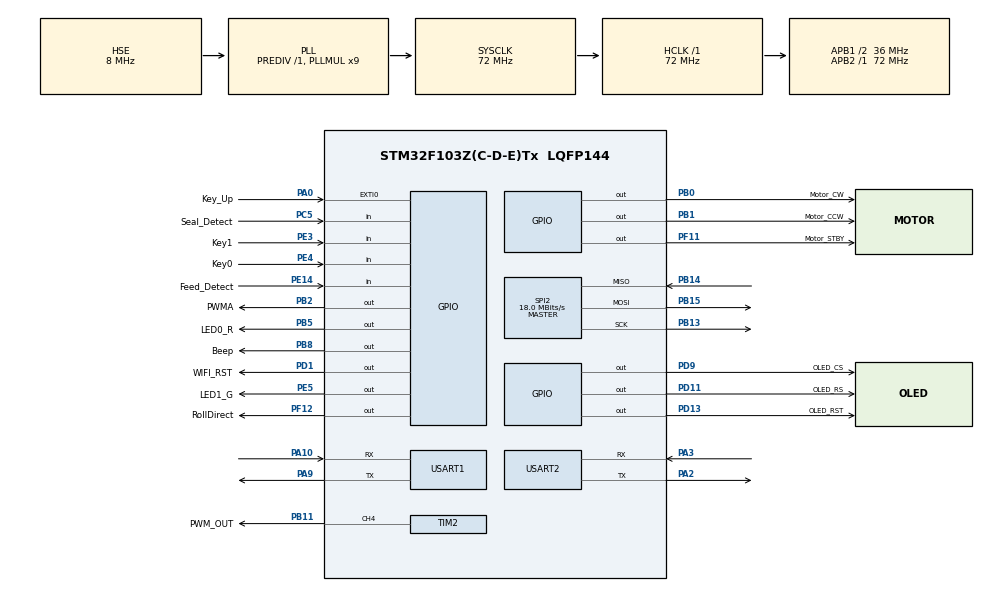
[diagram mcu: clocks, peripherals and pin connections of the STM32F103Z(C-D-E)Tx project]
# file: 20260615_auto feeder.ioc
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Mcu.Family=STM32F1
Mcu.Name=STM32F103Z(C-D-E)Tx
Mcu.Package=LQFP144
NVIC.EXTI0_IRQn=true\:1\:1\:true\:false\:true\:true\:true\:true
NVIC.PriorityGroup=NVIC_PRIORITYGROUP_2
NVIC.TIM2_IRQn=true\:1\:0\:true\:false\:true\:true\:true\:true
NVIC.TIM3_IRQn=true\:0\:0\:false\:false\:true\:true\:true\:true
NVIC.USART1_IRQn=true\:0\:1\:false\:false\:true\:true\:true\:true
NVIC.USART2_IRQn=true\:0\:0\:false\:false\:true\:true\:true\:true
OSC_IN.Mode=HSE-External-Oscillator
OSC_IN.Signal=RCC_OSC_IN
OSC_OUT.Mode=HSE-External-Oscillator
OSC_OUT.Signal=RCC_OSC_OUT
PA0-WKUP.GPIO_Label=Key_Up
PA0-WKUP.GPIO_ModeDefaultEXTI=GPIO_MODE_IT_RISING
PA0-WKUP.GPIO_PuPd=GPIO_PULLDOWN
PA0-WKUP.Signal=GPXTI0
PA1.Signal=ADCx_IN1
PA10.Mode=Asynchronous
PA10.Signal=USART1_RX
PA13.Mode=Serial_Wire
PA13.Signal=SYS_JTMS-SWDIO
PA14.Mode=Serial_Wire
PA14.Signal=SYS_JTCK-SWCLK
PA2.Mode=Asynchronous
PA2.Signal=USART2_TX
PA3.Mode=Asynchronous
PA3.Signal=USART2_RX
PA4.Signal=SPI1_NSS
PA9.Mode=Asynchronous
PA9.Signal=USART1_TX
PB0.GPIO_Label=Motor_CW
PB0.GPIO_PuPd=GPIO_PULLDOWN
PB0.Signal=GPIO_Output
PB1.GPIO_Label=Motor_CCW
PB1.GPIO_PuPd=GPIO_PULLDOWN
PB1.Signal=GPIO_Output
PB11.GPIO_Label=PWM_OUT
PB11.Signal=S_TIM2_CH4
PB12.Signal=SPI2_NSS
PB13.Mode=Full_Duplex_Master
PB13.Signal=SPI2_SCK
PB14.Mode=Full_Duplex_Master
PB14.Signal=SPI2_MISO
PB15.Mode=Full_Duplex_Master
PB15.Signal=SPI2_MOSI
PB2.GPIO_Label=PWMA
PB2.GPIO_PuPd=GPIO_PULLDOWN
PB2.Signal=GPIO_Output
PB5.GPIO_Label=LED0_R
PB5.GPIO_ModeDefaultOutputPP=GPIO_MODE_OUTPUT_PP
PB5.GPIO_PuPd=GPIO_PULLUP
PB5.GPIO_Speed=GPIO_SPEED_FREQ_HIGH
PB5.PinState=GPIO_PIN_SET
PB5.Signal=GPIO_Output
PB8.GPIO_Label=Beep
PB8.GPIO_PuPd=GPIO_PULLDOWN
PB8.GPIO_Speed=GPIO_SPEED_FREQ_LOW
PB8.Signal=GPIO_Output
PC14-OSC32_IN.Mode=LSE-External-Oscillator
PC14-OSC32_IN.Signal=RCC_OSC32_IN
PC15-OSC32_OUT.Mode=LSE-External-Oscillator
PC15-OSC32_OUT.Signal=RCC_OSC32_OUT
PC5.GPIO_Label=Seal_Detect
PC5.GPIO_PuPd=GPIO_PULLUP
PC5.Signal=GPIO_Input
PD1.GPIO_Label=WIFI_RST
PD1.GPIO_ModeDefaultOutputPP=GPIO_MODE_OUTPUT_PP
PD1.GPIO_PuPd=GPIO_PULLDOWN
PD1.GPIO_Speed=GPIO_SPEED_FREQ_MEDIUM
PD1.PinState=GPIO_PIN_RESET
PD1.Signal=GPIO_Output
PD11.GPIO_Label=OLED_RS
PD11.GPIO_PuPd=GPIO_PULLUP
PD11.GPIO_Speed=GPIO_SPEED_FREQ_MEDIUM
PD11.PinState=GPIO_PIN_SET
PD11.Signal=GPIO_Output
PD13.GPIO_Label=OLED_RST
PD13.GPIO_PuPd=GPIO_PULLUP
PD13.GPIO_Speed=GPIO_SPEED_FREQ_MEDIUM
PD13.PinState=GPIO_PIN_SET
PD13.Signal=GPIO_Output
PD9.GPIO_Label=OLED_CS
PD9.GPIO_PuPd=GPIO_PULLUP
PD9.GPIO_Speed=GPIO_SPEED_FREQ_MEDIUM
PD9.PinState=GPIO_PIN_SET
PD9.Signal=GPIO_Output
PE14.GPIO_Label=Feed_Detect
PE14.GPIO_PuPd=GPIO_PULLUP
PE14.Signal=GPIO_Input
PE3.GPIO_Label=Key1
PE3.GPIO_PuPd=GPIO_PULLUP
PE3.Signal=GPIO_Input
PE4.GPIO_Label=Key0
PE4.GPIO_PuPd=GPIO_PULLUP
PE4.Signal=GPIO_Input
PE5.GPIO_Label=LED1_G
PE5.GPIO_PuPd=GPIO_PULLUP
PE5.GPIO_Speed=GPIO_SPEED_FREQ_HIGH
PE5.PinState=GPIO_PIN_SET
PE5.Signal=GPIO_Output
PF11.GPIO_Label=Motor_STBY
PF11.GPIO_PuPd=GPIO_PULLDOWN
PF11.Signal=GPIO_Output
PF12.GPIO_Label=RollDirect
PF12.GPIO_PuPd=GPIO_NOPULL
PF12.PinState=GPIO_PIN_RESET
PF12.Signal=GPIO_Output
ProjectManager.HeapSize=0x200
ProjectManager.StackSize=0x400
ProjectManager.TargetToolchain=STM32CubeIDE
RCC.ADCPresc=RCC_ADCPCLK2_DIV6
RCC.AHBFreq_Value=72000000
RCC.APB1CLKDivider=RCC_HCLK_DIV2
RCC.APB1Freq_Value=36000000
RCC.APB1TimFreq_Value=72000000
RCC.APB2Freq_Value=72000000
RCC.APB2TimFreq_Value=72000000
RCC.HCLKFreq_Value=72000000
RCC.PLLMUL=RCC_PLL_MUL9
RCC.PLLSourceVirtual=RCC_PLLSOURCE_HSE
RCC.RTCClockSelection=RCC_RTCCLKSOURCE_LSE
RCC.SYSCLKFreq_VALUE=72000000
RCC.SYSCLKSource=RCC_SYSCLKSOURCE_PLLCLK
RCC.USBFreq_Value=72000000
RTC.Format=RTC_FORMAT_BIN
SH.ADCx_IN1.0=ADC1_IN1
SH.S_TIM2_CH4.0=TIM2_CH4,PWM Generation4 CH4
SPI2.CalculateBaudRate=18.0 MBits/s
SPI2.Direction=SPI_DIRECTION_2LINES
SPI2.Mode=SPI_MODE_MASTER
SPI2.VirtualType=VM_MASTER
TIM2.AutoReloadPreload=TIM_AUTORELOAD_PRELOAD_ENABLE
TIM2.Channel-PWM\ Generation4\ CH4=TIM_CHANNEL_4
TIM2.Period=50-1
TIM2.Prescaler=72-1
TIM2.Pulse-PWM\ Generation4\ CH4=25
TIM3.AutoReloadPreload=TIM_AUTORELOAD_PRELOAD_ENABLE
TIM3.ClockDivision=TIM_CLOCKDIVISION_DIV1
TIM3.Period=3000-1
TIM3.Prescaler=36000-1
TIM3.TIM_MasterOutputTrigger=TIM_TRGO_UPDATE
USART1.VirtualMode=VM_ASYNC
USART2.VirtualMode=VM_ASYNC
VP_RTC_VS_RTC_Activate.Mode=RTC_Enabled
VP_RTC_VS_RTC_Calendar.Mode=RTC_Calendar
VP_TIM2_VS_ClockSourceINT.Mode=Internal
VP_TIM3_VS_ClockSourceINT.Mode=Internal
board=custom

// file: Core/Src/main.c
/* USER CODE BEGIN Header */
/**
 ****************************************************************pp**************
 * @file           : main.c
 * @brief          : Main program body
 ******************************************************************************
 * @attention
 *
 * Copyright (c) 2025 STMicroelectronics.
 * All rights reserved.
 *
 * This software is licensed under terms that can be found in the LICENSE file
 * in the root directory of this software component.
 * If no LICENSE file comes with this software, it is provided AS-IS.
 *
 ******************************************************************************
 */
/* USER CODE END Header */
#include "main.h"
#include "rtc.h"
#include "spi.h"
#include "tim.h"
#include "usart.h"
#include "gpio.h"

/* USER CODE BEGIN Includes */
#include "../../BSP/LED/led.h"
//#include "../../BSP/KEY/key.h"
#include "../../BSP/OLED/OLED.h"
#include "../../Drivers/BSP/EXTI/EXTI.h"
#include "../../Drivers/BSP/Motor_Control/Motor_Control.h"
#include "../../Drivers/BSP/Feed_Ctrl/Feed_Ctrl.h"
#include "../../Drivers/BSP/Hall_Sensor/Hall_Sensor.h"
#include "../../Drivers/BSP/Local_RTC/RTC.h"
#include "../../Drivers/BSP/WIFI/WIFI.h"
/* USER CODE END Includes */

/* USER CODE BEGIN PV */
// PWM初始占空�????
uint16_t pwmDuty = 25;

//喂食标志
volatile uint8_t Feed_Flag = 0;
volatile uint8_t Feed_Times = 0; // 喂食次数，由网络指令触发

volatile FeedState_t State_Code = State_Init_Seal; // 状�?�机编码
const char *State[] =
		{ "Init", "Seal", "ToFeed", "HoldFeed", "ToSeal", "Error" };

ESP_Time_t live_time;   //整个系统共享的当前时间结构体
ESP_Status_t wifi_status;   //wifi状�?�机返回状�??
uint8_t is_synced = 0;   //标记今天是否已经同步过时�????

/* USER CODE END PV */

void SystemClock_Config(void);

int main(void)
{

  /* MCU Configuration--------------------------------------------------------*/

  /* Reset of all peripherals, Initializes the Flash interface and the Systick. */
  HAL_Init();

  /* Configure the system clock */
  SystemClock_Config();

  /* Initialize all configured peripherals */
  MX_GPIO_Init();
  MX_USART1_UART_Init();
  MX_TIM2_Init();
  MX_TIM3_Init();
  MX_SPI2_Init();
  MX_RTC_Init();
  MX_USART2_UART_Init();
  /* USER CODE BEGIN 2 */

	//OLED显示初始�??
	oled_init();
	oled_show_string(0, 0, "Seal:", 12);
	oled_show_string(0, 12, "Feed:", 12);
	oled_show_string(0, 24, "State:", 12);
	oled_show_string(0, 36, "Flag:", 12);
	oled_show_string(0, 48, "LState: ", 12);
	oled_show_string(60, 0, "O1:", 12);
	oled_show_string(60, 12, "O2:", 12);
	oled_refresh_gram(); /* 更新显示到OLED */

	if (Local_RTC_Init() == 1) {
		is_synced = 1;   // 标记已经同步过时�???
	}

	ESP_Time_t current_time;
	HAL_Delay(1000); // 等待系统稳定
	//初始化网络串口，触发�??次异步对时流�??
	ESP_Network_Init(&huart2, "Hz.C", "cinv7401", "9b78ec73fc3ca4eb13120efe34302248", "iFagZXZ72002");

  /* USER CODE END 2 */

  /* Infinite loop */
  /* USER CODE BEGIN WHILE */
	while (1) {

    WIFI_Rx_Parse();   //解析串口接收缓冲区，提取AT指令返回的关键信息
		ESP_Status_t net_status = ESP_Network_Task(&current_time);	//联网状态机轮询，AT指令连接WiFi，连接云服务器，实时获取命令，获取网络时间；

		//  Local_RTC_GetTime(&live_time);   // 获取本地RTC时间
		//  if (live_time.hour == 8 && live_time.minute == 0)
		//  {
		//  	// 每天早上8点触发一次喂食操�???
		//  	static uint8_t fed_morning = 0; // 标记今天早上是否已经喂过
		//  	if (fed_morning == 0) {
		//  		Feed_Flag = 1; // 执行喂食操作
		//  		fed_morning = 1; // 标记今天早上已经喂过
		//  	}
		//  }

		/*
		 喂食器状态机流程轮询
		 */
		Feed_Control(); // 喂食器状态机控制

		/*
			@brief  实时读取传感器状态并显示在OLED
		*/
		uint8_t Seal_State = Hall_Seal_Read(); // 密封状�??
		uint8_t Feed_State = Hall_Feed_Read(); // 出粮状�??
		uint8_t O1 = HAL_GPIO_ReadPin(IN1_Port, IN1_Pin); // 读取O1状�??
		uint8_t O2 = HAL_GPIO_ReadPin(IN2_Port, IN2_Pin); // 读取O2状�??
		 if(net_status == ESP_OK)
		 {
		 oled_show_num(30, 0, Seal_State, 4, 12); /*显示Hall_Seal传感器读取�??*/
		 oled_show_num(30, 12, Feed_State, 4, 12); /*显示Hall_Feed传感器读取�??*/
		 oled_show_num(30, 36, Feed_Flag, 4, 12); /*显示喂食标志*/
		 oled_show_num(90, 12, O1, 4, 12); /*显示O1状�??*/
		 oled_show_num(90, 0, O2, 4, 12); /*显示O2状�??*/
		 oled_show_string(35, 24, State[State_Code], 12); /*显示状�?�机状�??*/
		 oled_refresh_gram(); /* 更新显示到OLED */
		 }
//		printf("采样值为%d\r\n",adcdata);
//		temp = (float)adcdata/4096*3.3;
//		printf("实际电压值为%f\r\n",temp);
//		 adcdata = temp;
//		 oled_show_num(54,52,adcdata,1,12);	/*显示电压整数部分*/
//		 oled_show_string(66,52,".",12);		/*显示小数*/
//		 temp -= adcdata;
//		 temp *= 1000;
//		 oled_show_num(78, 52, temp, 3, 12);    /*显示电压小数部分*/
//		 oled_refresh_gram(); /*更新显示到OLED */

	}
    /* USER CODE END WHILE */

}

void SystemClock_Config(void)
{
  RCC_OscInitTypeDef RCC_OscInitStruct = {0};
  RCC_ClkInitTypeDef RCC_ClkInitStruct = {0};
  RCC_PeriphCLKInitTypeDef PeriphClkInit = {0};

  /** Initializes the RCC Oscillators according to the specified parameters
  * in the RCC_OscInitTypeDef structure.
  */
  RCC_OscInitStruct.OscillatorType = RCC_OSCILLATORTYPE_HSE|RCC_OSCILLATORTYPE_LSE;
  RCC_OscInitStruct.HSEState = RCC_HSE_ON;
  RCC_OscInitStruct.HSEPredivValue = RCC_HSE_PREDIV_DIV1;
  RCC_OscInitStruct.LSEState = RCC_LSE_ON;
  RCC_OscInitStruct.HSIState = RCC_HSI_ON;
  RCC_OscInitStruct.PLL.PLLState = RCC_PLL_ON;
  RCC_OscInitStruct.PLL.PLLSource = RCC_PLLSOURCE_HSE;
  RCC_OscInitStruct.PLL.PLLMUL = RCC_PLL_MUL9;
  if (HAL_RCC_OscConfig(&RCC_OscInitStruct) != HAL_OK)
  {
    Error_Handler();
  }

  /** Initializes the CPU, AHB and APB buses clocks
  */
  RCC_ClkInitStruct.ClockType = RCC_CLOCKTYPE_HCLK|RCC_CLOCKTYPE_SYSCLK
                              |RCC_CLOCKTYPE_PCLK1|RCC_CLOCKTYPE_PCLK2;
  RCC_ClkInitStruct.SYSCLKSource = RCC_SYSCLKSOURCE_PLLCLK;
  RCC_ClkInitStruct.AHBCLKDivider = RCC_SYSCLK_DIV1;
  RCC_ClkInitStruct.APB1CLKDivider = RCC_HCLK_DIV2;
  RCC_ClkInitStruct.APB2CLKDivider = RCC_HCLK_DIV1;

  if (HAL_RCC_ClockConfig(&RCC_ClkInitStruct, FLASH_LATENCY_2) != HAL_OK)
  {
    Error_Handler();
  }
  PeriphClkInit.PeriphClockSelection = RCC_PERIPHCLK_RTC;
  PeriphClkInit.RTCClockSelection = RCC_RTCCLKSOURCE_LSE;
  if (HAL_RCCEx_PeriphCLKConfig(&PeriphClkInit) != HAL_OK)
  {
    Error_Handler();
  }
}

void Error_Handler(void)
{
	__disable_irq();
	while (1) {
	}
}
